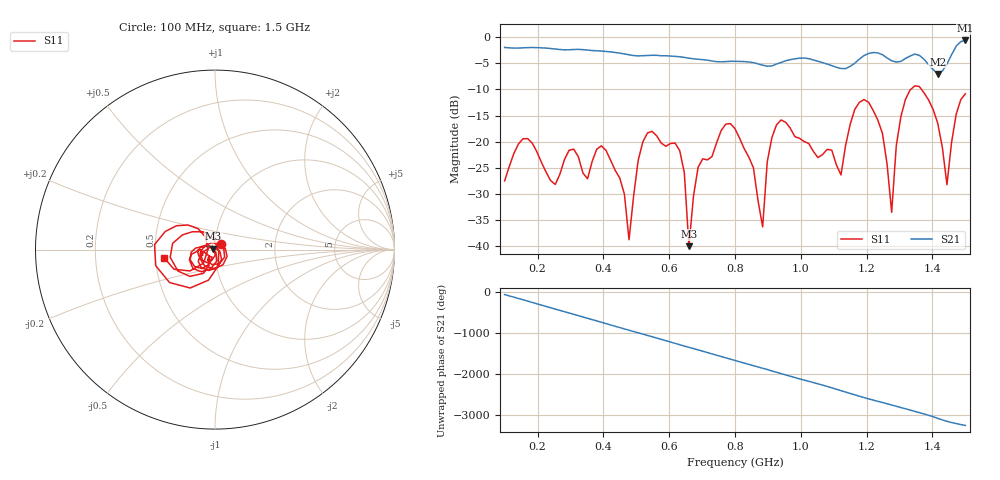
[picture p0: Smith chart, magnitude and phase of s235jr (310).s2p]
! NanoVNA-App
! Date: 2025-09-25 15:06:34
! Start: 100MHz Stop: 1,5GHz Points: 101
! S-Parameter data: F S11 S21 S12 S22
# Hz S RI R 50
!  Frequency  S11_Real  S11_Imag  S21_Real  S21_Imag  S12_Real  S12_Imag  S22_Real  S22_Imag
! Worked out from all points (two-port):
!   101 points, 100 MHz to 1.5 GHz, reference 50 ohm
!   highest |S21| = -0.63 dB at 1.5 GHz (marker M1); lowest = -7.0 dB at 1.416 GHz (marker M2)
!   |S21| within 3 dB of the highest: start of sweep to 607.2 MHz; 1.19 GHz to 1.254 GHz (64.55 MHz wide, 5.28 % of centre)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
!   lowest |S11| = -39.9 dB at 660 MHz (marker M3), VSWR 1.02, Z = 49.2 + j0.545 ohm
!   |S11| at or under -10 dB: start of sweep to 1.334 GHz; 1.367 GHz to end of sweep
!   S12 and S22 are empty: the file has one direction only
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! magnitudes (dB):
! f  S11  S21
! 100 MHz  -27.5  -2.0
! 156 MHz  -19.4  -2.0
! 338 MHz  -26.0  -2.4
! 408 MHz  -21.6  -2.7
! 478 MHz  -38.7  -3.4
! 520 MHz  -20.0  -3.5
! 576 MHz  -20.3  -3.5
! 632 MHz  -21.7  -3.7
! 660 MHz  -39.9  -4.0
! 688 MHz  -24.9  -4.2
! 800 MHz  -17.5  -4.6
! 884 MHz  -36.3  -5.4
! 926 MHz  -16.8  -5.1
! 1.038 GHz  -21.8  -4.4
! 1.122 GHz  -26.3  -6.0
! 1.206 GHz  -12.4  -3.1
! 1.276 GHz  -33.5  -4.5
! 1.29 GHz  -20.7  -4.7
! 1.332 GHz  -10.1  -3.6
! 1.416 GHz  -16.5  -7.0
! 1.444 GHz  -28.2  -5.1
! 1.5 GHz  -10.8  -0.6
